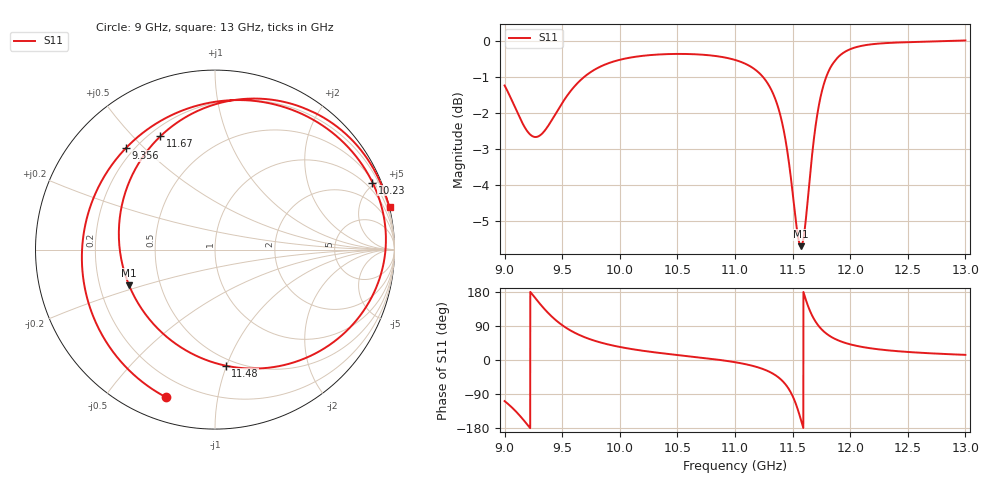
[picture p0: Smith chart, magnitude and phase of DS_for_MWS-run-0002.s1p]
! TOUCHSTONE file generated by CST DESIGN STUDIO
! Date and time: Tue Feb  4 15:38:44 2025
! Project name: C:\Work\MatlabApps\UnitCellOptimizationMatlab\CST\unitcell.cst
! Tree item: Tasks\Sweep1\SPara1\S-Parameters
! Header version: 2024
! Port assignment regex: !\s*Touchstone port\s*([0-9]+)\s*=\s*(CST MWS port|CST DES external port|CST DES block port)\s*(.+)\s* \(\"(.*)\"\)(\s*mode\s*([0-9]+))?.*
! Touchstone port assignment:
! Touchstone port 1 = CST DES external port 1 ("")
# GHz S MA R 50
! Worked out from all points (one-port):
!   4001 points, 9 GHz to 13 GHz, reference 50 ohm
!   lowest |S11| = -5.7 dB at 11.57 GHz (marker M1), VSWR 3.15, Z = 16.4 - j8.93 ohm
!   |S11| at or under -10 dB: nowhere
!   S11 on the Smith chart (normalised r, x): 9 GHz: 0.11, -0.71; 9.356 GHz: 0.17, +0.44; 10.23 GHz: 0.58, +4.83; 11.48 GHz: 0.44, -0.99; 11.67 GHz: 0.24, +0.60; 13 GHz: -0.02, +8.39
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9  0.8664 -108.5
9.089  0.8088 -132.9
9.192  0.7505 -168.5
9.269  0.7349 162.2
9.356  0.7527 131.1
9.425  0.783 110.3
9.5  0.8193 91.9
9.721  0.8982 57.1
10  0.9406 34.4
10.231  0.9538 23.1
10.5  0.9584 13.1
11  0.9402 -5.8
11.186  0.9086 -18.2
11.311  0.8571 -33.0
11.403  0.7767 -52.6
11.483  0.6492 -84.8
11.5  0.6156 -95.0
11.535  0.5509 -121.5
11.572  0.5185 -157.5
11.618  0.5708 156.2
11.672  0.7006 115.8
11.733  0.8209 87.3
11.819  0.9114 64.1
11.9  0.9504 51.3
12  0.973 41.3
12.195  0.9887 30.1
12.5  0.995 21.2
13  1.001 13.6
